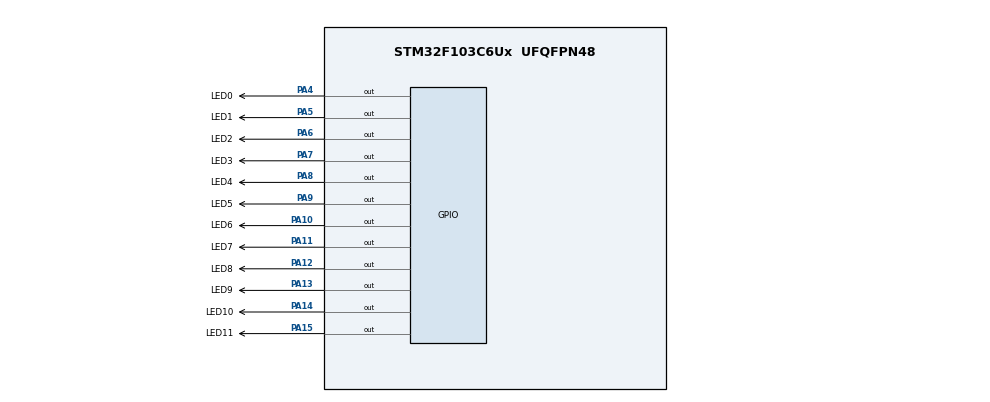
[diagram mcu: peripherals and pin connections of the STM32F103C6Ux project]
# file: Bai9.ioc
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Mcu.Family=STM32F1
Mcu.Name=STM32F103C6Ux
Mcu.Package=UFQFPN48
NVIC.PriorityGroup=NVIC_PRIORITYGROUP_4
PA10.GPIO_Label=LED6
PA10.Signal=GPIO_Output
PA11.GPIO_Label=LED7
PA11.Signal=GPIO_Output
PA12.GPIO_Label=LED8
PA12.Signal=GPIO_Output
PA13.GPIO_Label=LED9
PA13.Signal=GPIO_Output
PA14.GPIO_Label=LED10
PA14.Signal=GPIO_Output
PA15.GPIO_Label=LED11
PA15.Signal=GPIO_Output
PA4.GPIO_Label=LED0
PA4.Signal=GPIO_Output
PA5.GPIO_Label=LED1
PA5.Signal=GPIO_Output
PA6.GPIO_Label=LED2
PA6.Signal=GPIO_Output
PA7.GPIO_Label=LED3
PA7.Signal=GPIO_Output
PA8.GPIO_Label=LED4
PA8.Signal=GPIO_Output
PA9.GPIO_Label=LED5
PA9.Signal=GPIO_Output
ProjectManager.HeapSize=0x200
ProjectManager.StackSize=0x400
ProjectManager.TargetToolchain=STM32CubeIDE
RCC.APB1Freq_Value=8000000
RCC.APB2Freq_Value=8000000
VP_SYS_VS_ND.Mode=No_Debug
board=custom

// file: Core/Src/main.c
/* USER CODE BEGIN Header */
/**
 ******************************************************************************
 * @file           : main.c
 * @brief          : Main program body
 ******************************************************************************
 * @attention
 *
 * <h2><center>&copy; Copyright (c) 2022 STMicroelectronics.
 * All rights reserved.</center></h2>
 *
 * This software component is licensed by ST under BSD 3-Clause license,
 * the "License"; You may not use this file except in compliance with the
 * License. You may obtain a copy of the License at:
 *                        opensource.org/licenses/BSD-3-Clause
 *
 ******************************************************************************
 */
/* USER CODE END Header */
#include "main.h"

void SystemClock_Config(void);
static void MX_GPIO_Init(void);
void clearNumberOnClock(int num);

/* USER CODE BEGIN 0 */
void clearNumberOnClock(int num) {
	if (num == 0) {
		HAL_GPIO_WritePin(LED0_GPIO_Port, LED0_Pin, RESET);
	}
	if (num == 1) {
		HAL_GPIO_WritePin(LED1_GPIO_Port, LED1_Pin, RESET);
	}
	if (num == 2) {
		HAL_GPIO_WritePin(LED2_GPIO_Port, LED2_Pin, RESET);
	}
	if (num == 3) {
		HAL_GPIO_WritePin(LED3_GPIO_Port, LED3_Pin, RESET);
	}
	if (num == 4) {
		HAL_GPIO_WritePin(LED4_GPIO_Port, LED4_Pin, RESET);
	}
	if (num == 5) {
		HAL_GPIO_WritePin(LED5_GPIO_Port, LED5_Pin, RESET);
	}
	if (num == 6) {
		HAL_GPIO_WritePin(LED6_GPIO_Port, LED6_Pin, RESET);
	}
	if (num == 7) {
		HAL_GPIO_WritePin(LED7_GPIO_Port, LED7_Pin, RESET);
	}
	if (num == 8) {
		HAL_GPIO_WritePin(LED8_GPIO_Port, LED8_Pin, RESET);
	}
	if (num == 9) {
		HAL_GPIO_WritePin(LED9_GPIO_Port, LED9_Pin, RESET);
	}
	if (num == 10) {
		HAL_GPIO_WritePin(LED10_GPIO_Port, LED10_Pin, RESET);
	}
	if (num == 11) {
		HAL_GPIO_WritePin(LED11_GPIO_Port, LED11_Pin, RESET);
	}
}
/* USER CODE END 0 */

int main(void) {

	/* MCU Configuration--------------------------------------------------------*/

	/* Reset of all peripherals, Initializes the Flash interface and the Systick. */
	HAL_Init();

	/* Configure the system clock */
	SystemClock_Config();

	/* Initialize all configured peripherals */
	MX_GPIO_Init();

	/* Infinite loop */
	/* USER CODE BEGIN WHILE */
	int count = -1;
	while (1) {
		if (count == -1) {
			HAL_GPIO_WritePin(LED0_GPIO_Port, LED0_Pin, SET);
			HAL_GPIO_WritePin(LED1_GPIO_Port, LED1_Pin, SET);
			HAL_GPIO_WritePin(LED2_GPIO_Port, LED2_Pin, SET);
			HAL_GPIO_WritePin(LED3_GPIO_Port, LED3_Pin, SET);
			HAL_GPIO_WritePin(LED4_GPIO_Port, LED4_Pin, SET);
			HAL_GPIO_WritePin(LED5_GPIO_Port, LED5_Pin, SET);
			HAL_GPIO_WritePin(LED6_GPIO_Port, LED6_Pin, SET);
			HAL_GPIO_WritePin(LED7_GPIO_Port, LED7_Pin, SET);
			HAL_GPIO_WritePin(LED8_GPIO_Port, LED8_Pin, SET);
			HAL_GPIO_WritePin(LED9_GPIO_Port, LED9_Pin, SET);
			HAL_GPIO_WritePin(LED10_GPIO_Port, LED10_Pin, SET);
			HAL_GPIO_WritePin(LED11_GPIO_Port, LED11_Pin, SET);
		}
		if (count == 0) {
			clearNumberOnClock(0);
		}
		if (count == 1) {
			clearNumberOnClock(1);
		}
		if (count == 2) {
			clearNumberOnClock(2);
		}
		if (count == 3) {
			clearNumberOnClock(3);
		}
		if (count == 4) {
			clearNumberOnClock(4);
		}
		if (count == 5) {
			clearNumberOnClock(5);
		}
		if (count == 6) {
			clearNumberOnClock(6);
		}
		if (count == 7) {
			clearNumberOnClock(7);
		}
		if (count == 8) {
			clearNumberOnClock(8);
		}
		if (count == 9) {
			clearNumberOnClock(9);
		}
		if (count == 10) {
			clearNumberOnClock(10);
		}
		if (count == 11) {
			clearNumberOnClock(11);
			count = -2;
		}
		count++;
		HAL_Delay(1000);
		/* USER CODE END WHILE */

	}
}

void SystemClock_Config(void) {
	RCC_OscInitTypeDef RCC_OscInitStruct = { 0 };
	RCC_ClkInitTypeDef RCC_ClkInitStruct = { 0 };

	/** Initializes the RCC Oscillators according to the specified parameters
	 * in the RCC_OscInitTypeDef structure.
	 */
	RCC_OscInitStruct.OscillatorType = RCC_OSCILLATORTYPE_HSI;
	RCC_OscInitStruct.HSIState = RCC_HSI_ON;
	RCC_OscInitStruct.HSICalibrationValue = RCC_HSICALIBRATION_DEFAULT;
	RCC_OscInitStruct.PLL.PLLState = RCC_PLL_NONE;
	if (HAL_RCC_OscConfig(&RCC_OscInitStruct) != HAL_OK) {
		Error_Handler();
	}
	/** Initializes the CPU, AHB and APB buses clocks
	 */
	RCC_ClkInitStruct.ClockType = RCC_CLOCKTYPE_HCLK | RCC_CLOCKTYPE_SYSCLK
			| RCC_CLOCKTYPE_PCLK1 | RCC_CLOCKTYPE_PCLK2;
	RCC_ClkInitStruct.SYSCLKSource = RCC_SYSCLKSOURCE_HSI;
	RCC_ClkInitStruct.AHBCLKDivider = RCC_SYSCLK_DIV1;
	RCC_ClkInitStruct.APB1CLKDivider = RCC_HCLK_DIV1;
	RCC_ClkInitStruct.APB2CLKDivider = RCC_HCLK_DIV1;

	if (HAL_RCC_ClockConfig(&RCC_ClkInitStruct, FLASH_LATENCY_0) != HAL_OK) {
		Error_Handler();
	}
}

static void MX_GPIO_Init(void) {
	GPIO_InitTypeDef GPIO_InitStruct = { 0 };

	/* GPIO Ports Clock Enable */
	__HAL_RCC_GPIOA_CLK_ENABLE();

	/*Configure GPIO pin Output Level */
	HAL_GPIO_WritePin(GPIOA,
			LED0_Pin | LED1_Pin | LED2_Pin | LED3_Pin | LED4_Pin | LED5_Pin
					| LED6_Pin | LED7_Pin | LED8_Pin | LED9_Pin | LED10_Pin
					| LED11_Pin, GPIO_PIN_RESET);

	/*Configure GPIO pins : LED0_Pin LED1_Pin LED2_Pin LED3_Pin
	 LED4_Pin LED5_Pin LED6_Pin LED7_Pin
	 LED8_Pin LED9_Pin LED10_Pin LED11_Pin */
	GPIO_InitStruct.Pin = LED0_Pin | LED1_Pin | LED2_Pin | LED3_Pin | LED4_Pin
			| LED5_Pin | LED6_Pin | LED7_Pin | LED8_Pin | LED9_Pin | LED10_Pin
			| LED11_Pin;
	GPIO_InitStruct.Mode = GPIO_MODE_OUTPUT_PP;
	GPIO_InitStruct.Pull = GPIO_NOPULL;
	GPIO_InitStruct.Speed = GPIO_SPEED_FREQ_LOW;
	HAL_GPIO_Init(GPIOA, &GPIO_InitStruct);

}

void Error_Handler(void) {
	__disable_irq();
	while (1) {
	}
}

/************************ (C) COPYRIGHT STMicroelectronics *****END OF FILE****/
